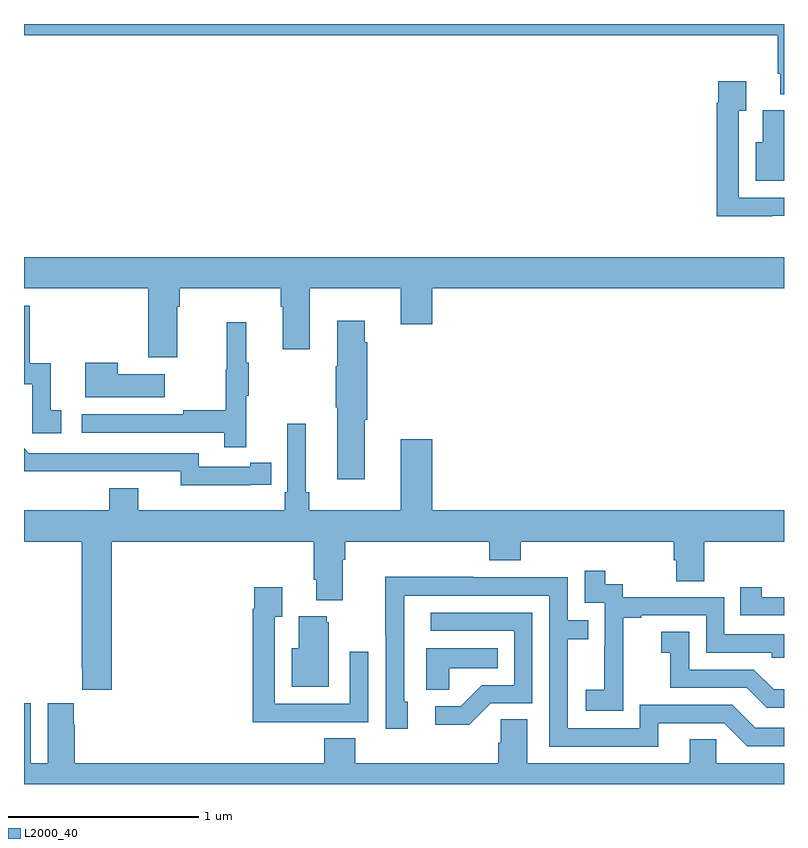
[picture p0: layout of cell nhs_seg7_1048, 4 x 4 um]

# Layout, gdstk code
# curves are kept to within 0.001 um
import gdstk
lib = gdstk.Library(unit=1e-6, precision=1e-09)
def P(c, l, *ps):  # polygons
    for p in ps: c.add(gdstk.Polygon(p, *l))
L2000_40 = (2000, 40)

nhs_seg7_1048 = lib.new_cell('nhs_seg7_1048')
P(nhs_seg7_1048, L2000_40, [(191,1010),(187,1010),(187,1009.94),(190.967,1009.94),(190.967,1009.738),(190.979,1009.738),(190.979,1009.631),(191,1009.631)],
  [(190.937,1008.99),(191,1008.99),(191,1009.086),(190.761,1009.086),(190.761,1009.543),(190.801,1009.543),(190.801,1009.699),(190.653,1009.699),(190.653,1009.586),(190.645,1009.586),(190.645,1008.989),(190.937,1008.989)],
  [(191,1009.546),(190.889,1009.546),(190.889,1009.378),(190.85,1009.378),(190.85,1009.175),(191,1009.175)],
  [(187.807,1008.512),(187.82,1008.512),(187.82,1008.608),(188.351,1008.608),(188.351,1008.512),(188.363,1008.512),(188.363,1008.288),(188.503,1008.288),(188.503,1008.608),(188.984,1008.608),(188.984,1008.42),(189.148,1008.42),(189.148,1008.608),(191,1008.608),(191,1008.772),(187,1008.772),(187,1008.608),(187.655,1008.608),(187.655,1008.246),(187.807,1008.246)],
  [(187.195,1007.967),(187.142,1007.967),(187.142,1008.214),(187.031,1008.214),(187.031,1008.516),(187,1008.516),(187,1008.105),(187.044,1008.105),(187.044,1007.847),(187.195,1007.847)],
  [(188.794,1007.916),(188.807,1007.916),(188.807,1008.326),(188.794,1008.326),(188.794,1008.439),(188.648,1008.439),(188.648,1008.2),(188.641,1008.2),(188.641,1007.983),(188.648,1007.983),(188.648,1007.604),(188.794,1007.604)],
  [(188.171,1008.043),(188.182,1008.043),(188.182,1008.217),(188.171,1008.217),(188.171,1008.43),(188.068,1008.43),(188.068,1008.18),(188.061,1008.18),(188.061,1007.966),(187.837,1007.966),(187.837,1007.946),(187.305,1007.946),(187.305,1007.85),(188.053,1007.85),(188.053,1007.772),(188.171,1007.772)],
  [(187.741,1008.157),(187.493,1008.157),(187.493,1008.217),(187.322,1008.217),(187.322,1008.035),(187.741,1008.035)],
  [(187.463,1007.276),(188.525,1007.276),(188.525,1007.074),(188.537,1007.074),(188.537,1006.967),(188.677,1006.967),(188.677,1007.18),(188.69,1007.18),(188.69,1007.276),(189.449,1007.276),(189.449,1007.177),(189.614,1007.177),(189.614,1007.276),(190.421,1007.276),(190.421,1007.178),(190.433,1007.178),(190.433,1007.068),(190.581,1007.068),(190.581,1007.276),(191,1007.276),(191,1007.44),(189.148,1007.44),(189.148,1007.815),(188.984,1007.815),(188.984,1007.44),(188.501,1007.44),(188.501,1007.536),(188.482,1007.536),(188.482,1007.896),(188.385,1007.896),(188.385,1007.536),(188.372,1007.536),(188.372,1007.44),(187.6,1007.44),(187.6,1007.557),(187.448,1007.557),(187.448,1007.44),(187,1007.44),(187,1007.276),(187.303,1007.276),(187.303,1006.609),(187.307,1006.609),(187.307,1006.497),(187.463,1006.497)],
  [(188.192,1007.574),(188.3,1007.574),(188.3,1007.69),(188.192,1007.69),(188.192,1007.67),(187.92,1007.67),(187.92,1007.742),(187.026,1007.742),(187,1007.768),(187,1007.645),(187.824,1007.646),(187.824,1007.573)],
  [(190.155,1006.591),(190.154,1006.591),(190.154,1006.875),(190.249,1006.875),(190.249,1006.887),(190.59,1006.887),(190.59,1006.692),(190.935,1006.692),(190.935,1006.665),(191,1006.665),(191,1006.788),(190.686,1006.788),(190.686,1006.983),(190.152,1006.983),(190.152,1007.052),(190.06,1007.052),(190.06,1007.122),(189.951,1007.122),(189.951,1006.953),(190.056,1006.953),(190.056,1006.724),(190.055,1006.724),(190.055,1006.495),(189.957,1006.495),(189.957,1006.385),(190.155,1006.385)],
  [(190.339,1006.32),(190.686,1006.32),(190.806,1006.2),(191,1006.2),(191,1006.296),(190.848,1006.296),(190.728,1006.416),(190.242,1006.416),(190.242,1006.293),(189.861,1006.293),(189.861,1006.762),(189.971,1006.762),(189.971,1006.863),(189.861,1006.863),(189.861,1007.088),(189.365,1007.088),(189.365,1007.09),(188.902,1007.09),(188.902,1006.783),(188.904,1006.783),(188.904,1006.29),(189.019,1006.29),(189.019,1006.434),(189,1006.434),(189,1006.992),(189.765,1006.992),(189.765,1006.197),(190.339,1006.197)],
  [(191,1006.983),(190.882,1006.983),(190.882,1007.035),(190.771,1007.035),(190.771,1006.887),(191,1006.887)],
  [(188.495,1006.326),(188.811,1006.326),(188.811,1006.696),(188.715,1006.696),(188.715,1006.422),(188.319,1006.422),(188.319,1006.879),(188.359,1006.879),(188.359,1007.035),(188.211,1007.035),(188.211,1006.922),(188.203,1006.922),(188.203,1006.325),(188.495,1006.325)],
  [(189.456,1006.425),(189.675,1006.425),(189.675,1006.902),(189.141,1006.902),(189.141,1006.806),(189.579,1006.806),(189.579,1006.521),(189.41,1006.521),(189.299,1006.41),(189.165,1006.41),(189.165,1006.313),(189.343,1006.313)],
  [(188.605,1006.851),(188.594,1006.851),(188.594,1006.882),(188.447,1006.882),(188.447,1006.714),(188.408,1006.714),(188.408,1006.511),(188.605,1006.511)],
  [(191,1006.498),(190.946,1006.498),(190.842,1006.602),(190.5,1006.602),(190.5,1006.801),(190.353,1006.801),(190.353,1006.691),(190.402,1006.691),(190.402,1006.506),(190.805,1006.506),(190.91,1006.401),(191,1006.401)],
  [(189.237,1006.61),(189.494,1006.61),(189.494,1006.714),(189.116,1006.714),(189.116,1006.495),(189.237,1006.495)],
  [(191,1006.108),(190.644,1006.108),(190.644,1006.235),(190.505,1006.235),(190.505,1006.108),(189.649,1006.108),(189.649,1006.34),(189.51,1006.34),(189.51,1006.217),(189.497,1006.217),(189.497,1006.108),(188.744,1006.108),(188.744,1006.241),(188.579,1006.241),(188.579,1006.108),(187.268,1006.108),(187.268,1006.313),(187.261,1006.313),(187.261,1006.426),(187.124,1006.426),(187.124,1006.108),(187.036,1006.108),(187.036,1006.426),(187,1006.426),(187,1006),(191,1006)])

lib.write_gds('nhs_seg7_1048.gds')
